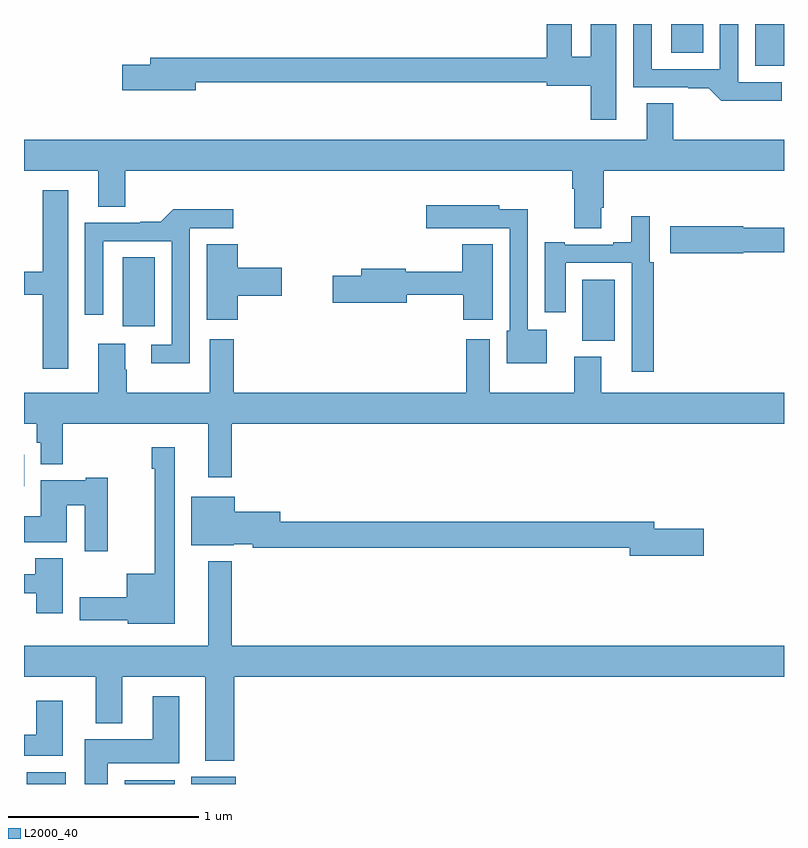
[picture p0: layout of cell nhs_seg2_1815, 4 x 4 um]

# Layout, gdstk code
import gdstk
lib = gdstk.Library(unit=1e-6, precision=1e-09)
def R(c, l, rs):  # rectangles x0, y0, x1, y1
    for r in rs: c.add(gdstk.rectangle(r[:2], r[2:], *l))
def P(c, l, *ps):  # polygons
    for p in ps: c.add(gdstk.Polygon(p, *l))
L2000_40 = (2000, 40)

nhs_seg2_1815 = lib.new_cell('nhs_seg2_1815')
R(nhs_seg2_1815, L2000_40, [(207.014,585.8,207.22,585.862), (207.53,585.8,207.793,585.82), (207.881,585.8,208.114,585.838), (209.939,588.134,210.109,588.454), (207.521,588.21,207.688,588.572), (210.848,589.579,211,589.8), (210.407,589.648,210.574,589.8)])
P(nhs_seg2_1815, L2000_40, [(210.988,589.494),(210.759,589.494),(210.759,589.8),(210.663,589.8),(210.663,589.563),(210.303,589.563),(210.303,589.8),(210.207,589.8),(210.207,589.467),(210.497,589.467),(210.497,589.462),(210.605,589.462),(210.671,589.397),(210.988,589.397)],
  [(210.118,589.8),(209.984,589.8),(209.984,589.628),(209.884,589.628),(209.884,589.8),(209.75,589.8),(209.75,589.622),(207.665,589.622),(207.665,589.586),(207.516,589.586),(207.516,589.451),(207.904,589.451),(207.904,589.494),(209.75,589.494),(209.75,589.475),(209.984,589.475),(209.984,589.296),(210.118,589.296)],
  [(210.037,588.832),(210.05,588.832),(210.05,589.028),(211,589.028),(211,589.192),(210.418,589.192),(210.418,589.382),(210.278,589.382),(210.278,589.192),(207,589.192),(207,589.028),(207.392,589.028),(207.392,588.838),(207.532,588.838),(207.532,589.028),(209.885,589.028),(209.885,588.932),(209.897,588.932),(209.897,588.724),(210.037,588.724)],
  [(207.232,588.925),(207.098,588.925),(207.098,588.495),(207,588.495),(207,588.376),(207.098,588.376),(207.098,587.985),(207.232,587.985)],
  [(209.752,588.19),(209.652,588.19),(209.652,588.824),(209.502,588.824),(209.502,588.847),(209.118,588.847),(209.118,588.725),(209.345,588.725),(209.345,588.726),(209.556,588.726),(209.556,588.186),(209.54,588.186),(209.54,588.014),(209.752,588.014)],
  [(207.873,588.726),(208.102,588.726),(208.102,588.824),(207.785,588.824),(207.719,588.758),(207.611,588.758),(207.611,588.753),(207.321,588.753),(207.321,588.27),(207.417,588.27),(207.417,588.657),(207.777,588.657),(207.777,588.111),(207.669,588.111),(207.669,588.014),(207.873,588.014)],
  [(210.314,588.546),(210.294,588.546),(210.294,588.787),(210.197,588.787),(210.197,588.652),(210.101,588.652),(210.101,588.639),(209.845,588.639),(209.845,588.652),(209.741,588.652),(209.741,588.282),(209.851,588.282),(209.851,588.543),(210.198,588.543),(210.198,587.97),(210.314,587.97)],
  [(210.786,588.598),(211,588.598),(211,588.727),(210.786,588.727),(210.786,588.735),(210.402,588.735),(210.402,588.593),(210.786,588.593)],
  [(208.124,588.371),(208.357,588.371),(208.357,588.518),(208.124,588.518),(208.124,588.641),(207.962,588.641),(207.962,588.243),(208.124,588.243)],
  [(209.467,588.64),(209.306,588.64),(209.306,588.495),(209.01,588.495),(209.01,588.512),(208.775,588.512),(208.775,588.476),(208.626,588.476),(208.626,588.334),(209.014,588.334),(209.014,588.376),(209.311,588.376),(209.311,588.243),(209.467,588.243)],
  [(208.093,587.696),(211,587.696),(211,587.86),(210.037,587.86),(210.037,588.049),(209.897,588.049),(209.897,587.86),(209.452,587.86),(209.452,588.142),(209.327,588.142),(209.327,587.86),(208.103,587.86),(208.103,588.142),(207.977,588.142),(207.977,587.86),(207.54,587.86),(207.54,587.981),(207.532,587.981),(207.532,588.118),(207.392,588.118),(207.392,587.86),(207,587.86),(207,587.696),(207.067,587.696),(207.067,587.595),(207.087,587.595),(207.087,587.483),(207.203,587.483),(207.203,587.696),(207.971,587.696),(207.971,587.415),(208.093,587.415)],
  [(207.793,587.572),(207.672,587.572),(207.672,587.459),(207.689,587.459),(207.689,586.906),(207.542,586.906),(207.542,586.783),(207.294,586.783),(207.294,586.661),(207.546,586.661),(207.546,586.643),(207.793,586.643)],
  [(207.002,587.37),(207.002,587.533),(207,587.533),(207,587.368)],
  [(207.442,587.413),(207.324,587.413),(207.324,587.398),(207.089,587.398),(207.089,587.21),(207,587.21),(207,587.072),(207.226,587.072),(207.226,587.266),(207.32,587.266),(207.32,587.025),(207.442,587.025)],
  [(210.577,587.144),(210.316,587.144),(210.316,587.18),(208.348,587.18),(208.348,587.233),(208.108,587.233),(208.108,587.311),(207.881,587.311),(207.881,587.057),(208.104,587.057),(208.104,587.063),(208.204,587.063),(208.204,587.044),(210.188,587.044),(210.188,587.002),(210.577,587.002)],
  [(207.205,586.987),(207.058,586.987),(207.058,586.903),(207,586.903),(207,586.803),(207.065,586.803),(207.065,586.698),(207.205,586.698)],
  [(208.106,586.364),(211,586.364),(211,586.528),(208.093,586.528),(208.093,586.972),(207.971,586.972),(207.971,586.528),(207,586.528),(207,586.364),(207.377,586.364),(207.377,586.121),(207.517,586.121),(207.517,586.364),(207.953,586.364),(207.953,585.923),(208.106,585.923)],
  [(207.442,585.908),(207.817,585.908),(207.817,586.261),(207.677,586.261),(207.677,586.036),(207.32,586.036),(207.32,585.8),(207.442,585.8)],
  [(207.205,586.237),(207.065,586.237),(207.065,586.06),(207,586.06),(207,585.95),(207.205,585.95)])

lib.write_gds('nhs_seg2_1815.gds')
